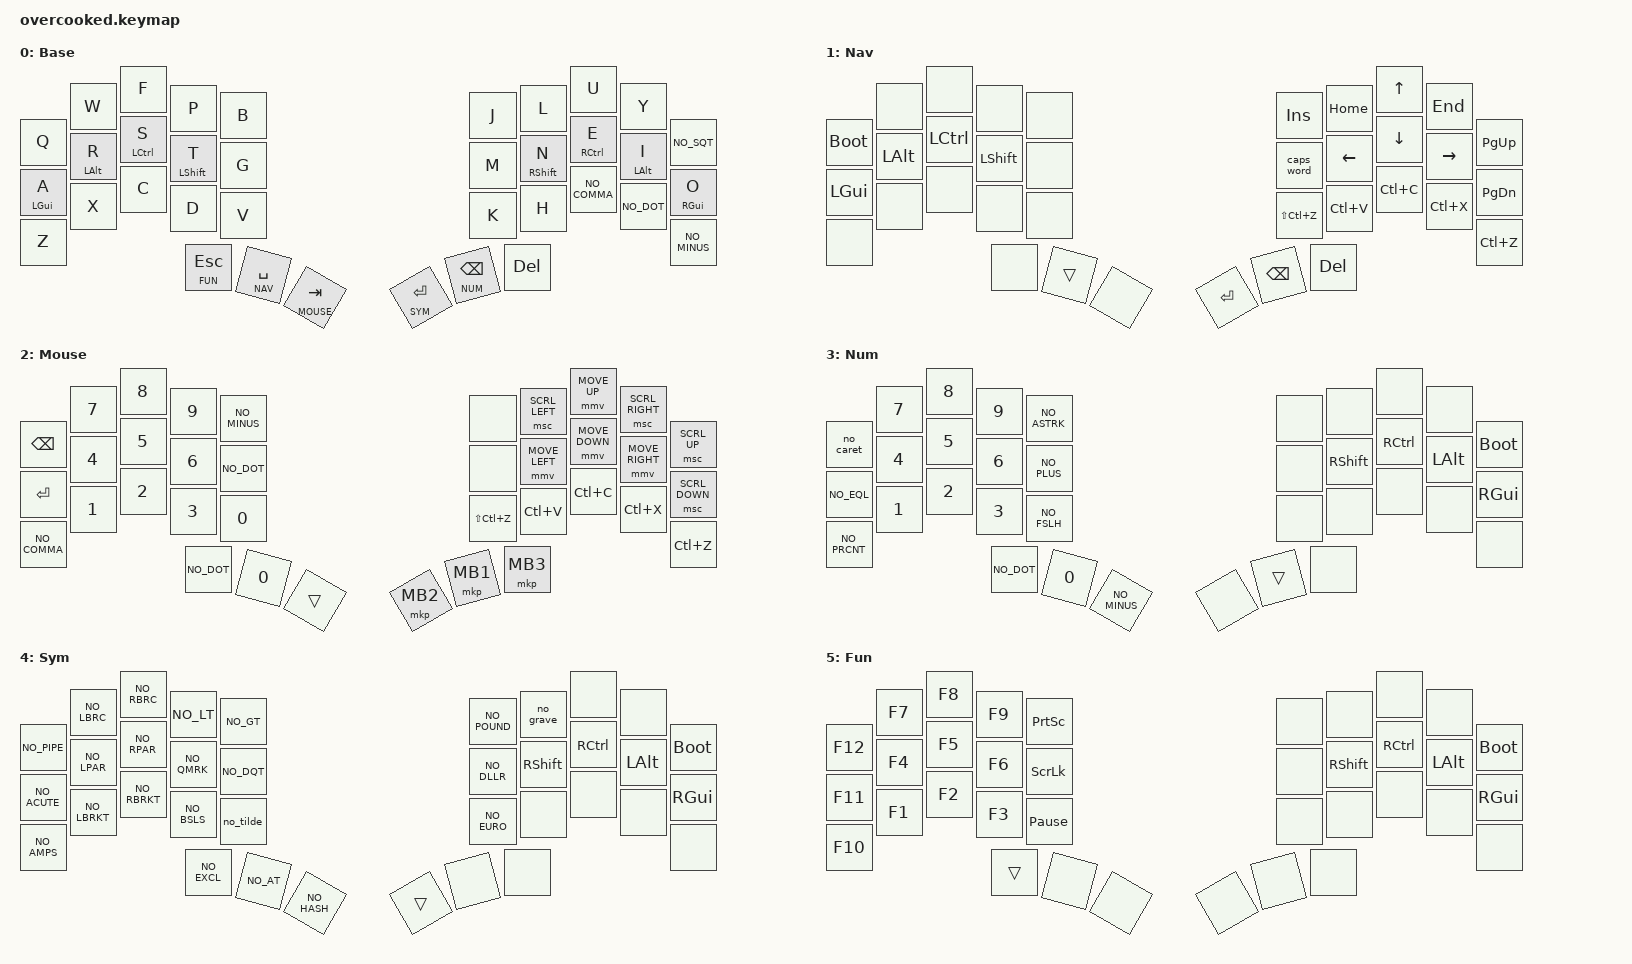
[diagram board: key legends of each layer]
/*
 * Overcooked - Miryoku layout (Colemak-DH) adapted for a Norwegian OS layout.
 *
 * Layer structure follows https://github.com/manna-harbour/miryoku with the
 * inverted-T NAV/MOUSE alternatives. The EXTRA, TAP, MEDIA and BUTTON layers are omitted;
 * FUN is held on the left outer thumb (ex-MEDIA) as a one-handed layer.
 *
 * Key positions:
 *   0  1  2  3  4      5  6  7  8  9
 *  10 11 12 13 14     15 16 17 18 19
 *  20 21 22 23 24     25 26 27 28 29
 *        30 31 32     33 34 35
 */

#include <behaviors.dtsi>
#include <dt-bindings/zmk/keys.h>
#include <dt-bindings/zmk/pointing.h>

#include "keys_no.h"

#define BASE  0
#define NAV   1
#define MOUSE 2
#define NUM   3
#define SYM   4
#define FUN   5

#define KEYS_L 0 1 2 3 4 10 11 12 13 14 20 21 22 23 24
#define KEYS_R 5 6 7 8 9 15 16 17 18 19 25 26 27 28 29
#define THUMBS 30 31 32 33 34 35

/* Clipboard (Ctrl-based: works in most Linux and Windows apps) */
#define U_UND &kp LC(Z)
#define U_CUT &kp LC(X)
#define U_CPY &kp LC(C)
#define U_PST &kp LC(V)
#define U_RDO &kp LS(LC(Z))

/* Mouse */
#define U_BTN1 &mkp MB1
#define U_BTN2 &mkp MB2
#define U_BTN3 &mkp MB3
#define U_MS_U &mmv MOVE_UP
#define U_MS_D &mmv MOVE_DOWN
#define U_MS_L &mmv MOVE_LEFT
#define U_MS_R &mmv MOVE_RIGHT
#define U_WH_U &msc SCRL_UP
#define U_WH_D &msc SCRL_DOWN
#define U_WH_L &msc SCRL_LEFT
#define U_WH_R &msc SCRL_RIGHT

/* Caps word: keep going through - and _ (Norwegian keycodes) */
&caps_word { continue-list = <BACKSPACE DELETE NO_MINUS NO_UNDER>; };

/ {
    macros {
        /* Norwegian ^ ~ ` are dead keys; tap them followed by space to get
         * the plain character. */
        no_caret: no_caret {
            compatible = "zmk,behavior-macro";
            #binding-cells = <0>;
            wait-ms = <10>;
            tap-ms = <10>;
            bindings = <&kp NO_CARET &kp SPACE>;
        };
        no_tilde: no_tilde {
            compatible = "zmk,behavior-macro";
            #binding-cells = <0>;
            wait-ms = <10>;
            tap-ms = <10>;
            bindings = <&kp NO_TILDE &kp SPACE>;
        };
        no_grave: no_grave {
            compatible = "zmk,behavior-macro";
            #binding-cells = <0>;
            wait-ms = <10>;
            tap-ms = <10>;
            bindings = <&kp NO_GRAVE &kp SPACE>;
        };
    };

    behaviors {
        hml: home_row_mod_left {
            compatible = "zmk,behavior-hold-tap";
            #binding-cells = <2>;
            flavor = "balanced";
            require-prior-idle-ms = <150>;
            tapping-term-ms = <280>;
            quick-tap-ms = <175>;
            bindings = <&kp>, <&kp>;
            hold-trigger-key-positions = <KEYS_R THUMBS>;
            hold-trigger-on-release;
        };
        hmr: home_row_mod_right {
            compatible = "zmk,behavior-hold-tap";
            #binding-cells = <2>;
            flavor = "balanced";
            require-prior-idle-ms = <150>;
            tapping-term-ms = <280>;
            quick-tap-ms = <175>;
            bindings = <&kp>, <&kp>;
            hold-trigger-key-positions = <KEYS_L THUMBS>;
            hold-trigger-on-release;
        };
    };

    combos {
        compatible = "zmk,combos";

        combo_caps_word {
            bindings = <&caps_word>;
            key-positions = <14 15>;   /* G + M */
            layers = <BASE>;
        };
        combo_AA {
            bindings = <&kp NO_AA>;   /* Å */
            key-positions = <6 7>;     /* L + U */
            layers = <BASE>;
        };
        combo_OE {
            bindings = <&kp NO_OE>;   /* Ø */
            key-positions = <7 8>;     /* U + Y */
            layers = <BASE>;
        };
        combo_AE {
            bindings = <&kp NO_AE>;   /* Æ */
            key-positions = <8 9>;     /* Y + ' */
            layers = <BASE>;
        };
        combo_reset_left {
            bindings = <&sys_reset>;
            key-positions = <0 10 20>;
        };
        combo_reset_right {
            bindings = <&sys_reset>;
            key-positions = <9 19 29>;
        };
        combo_studio_unlock {
            bindings = <&studio_unlock>;
            key-positions = <0 9>;
        };
    };

    keymap {
        compatible = "zmk,keymap";

        base_layer {
            display-name = "Base";
            // ╭─────┬─────┬─────┬─────┬─────╮   ╭─────┬─────┬─────┬─────┬─────╮
            // │  Q  │  W  │  F  │  P  │  B  │   │  J  │  L  │  U  │  Y  │  '  │
            // │ A/G │ R/A │ S/C │ T/S │  G  │   │  M  │ N/S │ E/C │ I/A │ O/G │
            // │  Z  │  X  │  C  │  D  │  V  │   │  K  │  H  │  ,  │  .  │  -  │
            // ╰─────┴─────┼─────┼─────┼─────┤   ├─────┼─────┼─────┼─────┴─────╯
            //             │ESC/F│SPC/N│TAB/m│   │ENT/S│BSP/#│ DEL │
            //             ╰─────┴─────┴─────╯   ╰─────┴─────┴─────╯
            bindings = <
                &kp Q           &kp W           &kp F           &kp P           &kp B             &kp J           &kp L           &kp U           &kp Y           &kp NO_SQT
                &hml LGUI A     &hml LALT R     &hml LCTRL S    &hml LSHFT T    &kp G             &kp M           &hmr RSHFT N    &hmr RCTRL E    &hmr LALT I     &hmr RGUI O
                &kp Z           &kp X           &kp C           &kp D           &kp V             &kp K           &kp H           &kp NO_COMMA    &kp NO_DOT      &kp NO_MINUS
                                                &lt FUN ESC     &lt NAV SPACE   &lt MOUSE TAB     &lt SYM RET     &lt NUM BSPC    &kp DEL
            >;
        };

        nav_layer {
            display-name = "Nav";
            bindings = <
                &bootloader     &none           &none           &none           &none             &kp INS         &kp HOME        &kp UP          &kp END         &kp PG_UP
                &kp LGUI        &kp LALT        &kp LCTRL       &kp LSHFT       &none             &caps_word      &kp LEFT        &kp DOWN        &kp RIGHT       &kp PG_DN
                &none           &none           &none           &none           &none             U_RDO           U_PST           U_CPY           U_CUT           U_UND
                                                &none           &trans          &none             &kp RET         &kp BSPC        &kp DEL
            >;
        };

        mouse_layer {
            display-name = "Mouse";
            // Left hand doubles as a one-handed numpad while the thumb holds
            // Tab, so 0 . - live on finger keys (inner column). The thumb
            // duplicates of . and 0 match the Num layer positions.
            // ╭─────┬─────┬─────┬─────┬─────╮   ╭─────┬─────┬─────┬─────┬─────╮
            // │Bksp │  7  │  8  │  9  │  -  │   │     │Scr← │ Ms↑ │Scr→ │Scr↑ │
            // │ Ent │  4  │  5  │  6  │  .  │   │     │ Ms← │ Ms↓ │ Ms→ │Scr↓ │
            // │  ,  │  1  │  2  │  3  │  0  │   │Redo │Paste│Copy │ Cut │Undo │
            // ╰─────┴─────┼─────┼─────┼─────┤   ├─────┼─────┼─────┼─────┴─────╯
            //             │  .  │  0  │ ▓▓▓ │   │RClk │LClk │MClk │
            //             ╰─────┴─────┴─────╯   ╰─────┴─────┴─────╯
            bindings = <
                &kp BSPC        &kp N7          &kp N8          &kp N9          &kp NO_MINUS      &none           U_WH_L          U_MS_U          U_WH_R          U_WH_U
                &kp RET         &kp N4          &kp N5          &kp N6          &kp NO_DOT        &none           U_MS_L          U_MS_D          U_MS_R          U_WH_D
                &kp NO_COMMA    &kp N1          &kp N2          &kp N3          &kp N0            U_RDO           U_PST           U_CPY           U_CUT           U_UND
                                                &kp NO_DOT      &kp N0          &trans            U_BTN2          U_BTN1          U_BTN3
            >;
        };

        num_layer {
            display-name = "Num";
            // ╭─────┬─────┬─────┬─────┬─────╮
            // │  ^  │  7  │  8  │  9  │  *  │
            // │  =  │  4  │  5  │  6  │  +  │
            // │  %  │  1  │  2  │  3  │  /  │
            // ╰─────┴─────┼─────┼─────┼─────┤
            //             │  .  │  0  │  -  │
            //             ╰─────┴─────┴─────╯
            bindings = <
                &no_caret       &kp N7          &kp N8          &kp N9          &kp NO_ASTRK      &none           &none           &none           &none           &bootloader
                &kp NO_EQL      &kp N4          &kp N5          &kp N6          &kp NO_PLUS       &none           &kp RSHFT       &kp RCTRL       &kp LALT        &kp RGUI
                &kp NO_PRCNT    &kp N1          &kp N2          &kp N3          &kp NO_FSLH       &none           &none           &none           &none           &none
                                                &kp NO_DOT      &kp N0          &kp NO_MINUS      &none           &trans          &none
            >;
        };

        sym_layer {
            display-name = "Sym";
            // ╭─────┬─────┬─────┬─────┬─────╮   ╭─────┬─────┬─────┬─────┬─────╮
            // │  |  │  {  │  }  │  <  │  >  │   │  £  │  `  │     │     │ BOOT│
            // │  ´  │  (  │  )  │  ?  │  "  │   │  $  │ Sft │ Ctl │ Alt │ Gui │
            // │  &  │  [  │  ]  │  \  │  ~  │   │  €  │     │     │     │     │
            // ╰─────┴─────┼─────┼─────┼─────┤   ├─────┼─────┼─────┼─────┴─────╯
            //             │  !  │  @  │  #  │   │ ▓▓▓ │     │     │
            //             ╰─────┴─────┴─────╯   ╰─────┴─────┴─────╯
            // ´ is left as a live dead key so ´+e gives é; ~ ` ^ are macros
            // that add a space and type the plain character.
            bindings = <
                &kp NO_PIPE     &kp NO_LBRC     &kp NO_RBRC     &kp NO_LT       &kp NO_GT         &kp NO_POUND    &no_grave       &none           &none           &bootloader
                &kp NO_ACUTE    &kp NO_LPAR     &kp NO_RPAR     &kp NO_QMRK     &kp NO_DQT        &kp NO_DLLR     &kp RSHFT       &kp RCTRL       &kp LALT        &kp RGUI
                &kp NO_AMPS     &kp NO_LBRKT    &kp NO_RBRKT    &kp NO_BSLS     &no_tilde         &kp NO_EURO     &none           &none           &none           &none
                                                &kp NO_EXCL     &kp NO_AT       &kp NO_HASH       &trans          &none           &none
            >;
        };

        fun_layer {
            display-name = "Fun";
            // One-handed: left thumb holds Esc, left fingers type F keys.
            // ╭─────┬─────┬─────┬─────┬─────╮   ╭─────┬─────┬─────┬─────┬─────╮
            // │ F12 │ F7  │ F8  │ F9  │PrtSc│   │     │     │     │     │BOOT │
            // │ F11 │ F4  │ F5  │ F6  │ScrLk│   │     │ Sft │ Ctl │ Alt │ Gui │
            // │ F10 │ F1  │ F2  │ F3  │Pause│   │     │     │     │     │     │
            // ╰─────┴─────┼─────┼─────┼─────┤   ├─────┼─────┼─────┼─────┴─────╯
            //             │ ▓▓▓ │     │     │   │     │     │     │
            //             ╰─────┴─────┴─────╯   ╰─────┴─────┴─────╯
            bindings = <
                &kp F12         &kp F7          &kp F8          &kp F9          &kp PSCRN         &none           &none           &none           &none           &bootloader
                &kp F11         &kp F4          &kp F5          &kp F6          &kp SLCK          &none           &kp RSHFT       &kp RCTRL       &kp LALT        &kp RGUI
                &kp F10         &kp F1          &kp F2          &kp F3          &kp PAUSE_BREAK   &none           &none           &none           &none           &none
                                                &trans          &none           &none             &none           &none           &none
            >;
        };

        extra0 { status = "reserved"; };
        extra1 { status = "reserved"; };
        extra2 { status = "reserved"; };
    };
};
